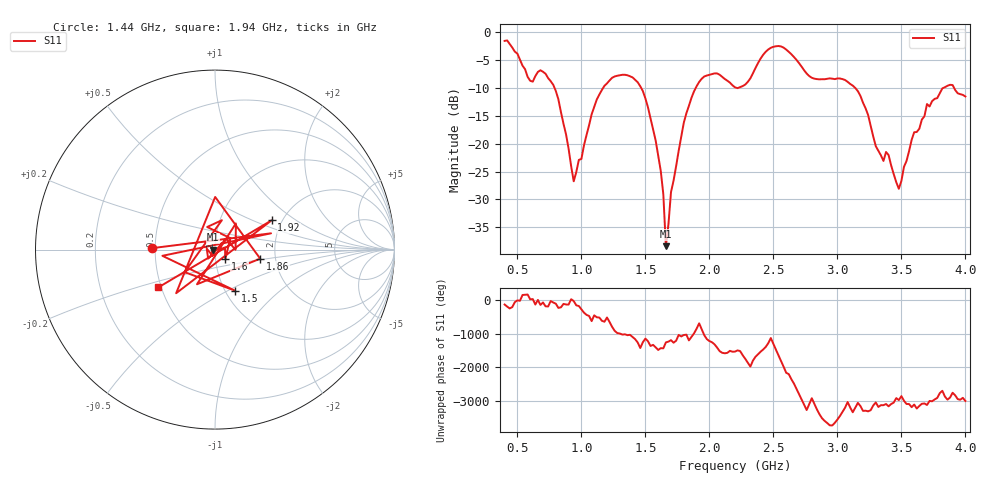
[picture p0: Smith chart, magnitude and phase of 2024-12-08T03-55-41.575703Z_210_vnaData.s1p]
!Created with skrf (http://scikit-rf.org).
# Hz S RI R 50.0
!freq ReS11 ImS11
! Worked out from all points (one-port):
!   181 points, 400 MHz to 4 GHz, reference 50 ohm
!   lowest |S11| = -38.4 dB at 1.66 GHz (marker M1), VSWR 1.02, Z = 48.8 - j0.0401 ohm
!   |S11| at or under -10 dB: 789.3 MHz to 1.171 GHz (381.8 MHz wide, 39 % of centre); 1.466 GHz to 1.894 GHz (428.6 MHz wide, 25.5 % of centre); 3.137 GHz to 3.832 GHz (694.7 MHz wide, 19.9 % of centre) (the widest 3 of 5)
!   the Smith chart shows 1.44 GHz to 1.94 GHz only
!   S11 on the Smith chart (normalised r, x): 1.44 GHz: 0.48, +0.01; 1.5 GHz: 1.11, -0.54; 1.6 GHz: 1.12, -0.12; 1.86 GHz: 1.66, -0.18; 1.92 GHz: 1.77, +0.66; 1.94 GHz: 0.48, -0.24
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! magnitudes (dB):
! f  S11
! 400 MHz  -1.6
! 600 MHz  -8.8
! 720 MHz  -7.5
! 860 MHz  -16.5
! 940 MHz  -26.7
! 1.12 GHz  -12.1
! 1.3 GHz  -7.8
! 1.44 GHz  -9.0
! 1.5 GHz  -11.9
! 1.6 GHz  -22.2
! 1.64 GHz  -29.1
! 1.66 GHz  -38.4
! 1.7 GHz  -28.7
! 1.76 GHz  -21.3
! 1.86 GHz  -11.8
! 1.92 GHz  -9.0
! 1.94 GHz  -8.4
! 2.2 GHz  -9.9
! 2.48 GHz  -2.9
! 2.66 GHz  -4.5
! 2.8 GHz  -8.2
! 3.1 GHz  -9.3
! 3.4 GHz  -22.1
! 3.48 GHz  -28.1
! 3.56 GHz  -21.3
! 3.7 GHz  -12.9
! 3.82 GHz  -10.1
! 4 GHz  -11.6
